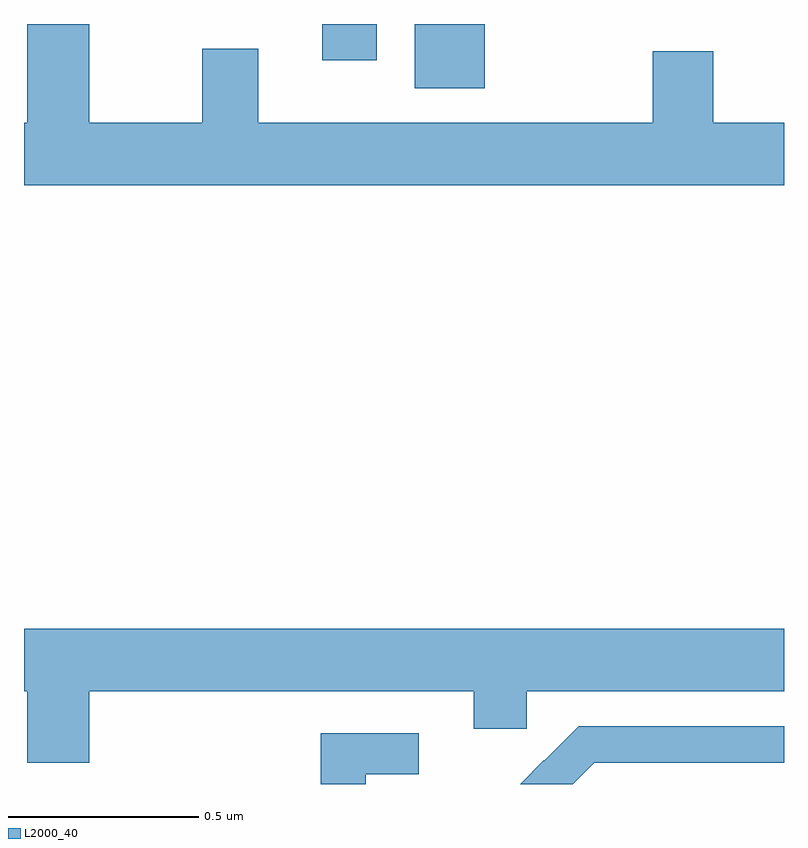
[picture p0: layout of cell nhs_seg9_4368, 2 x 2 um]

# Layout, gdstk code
import gdstk
lib = gdstk.Library(unit=1e-6, precision=1e-09)
def R(c, l, rs):  # rectangles x0, y0, x1, y1
    for r in rs: c.add(gdstk.rectangle(r[:2], r[2:], *l))
def P(c, l, *ps):  # polygons
    for p in ps: c.add(gdstk.Polygon(p, *l))
L2000_40 = (2000, 40)

nhs_seg9_4368 = lib.new_cell('nhs_seg9_4368')
R(nhs_seg9_4368, L2000_40, [(166.028,1207.331,166.213,1207.5), (165.785,1207.404,165.928,1207.5)])
P(nhs_seg9_4368, L2000_40, [(167,1207.24),(166.814,1207.24),(166.814,1207.428),(166.654,1207.428),(166.654,1207.24),(165.616,1207.24),(165.616,1207.435),(165.469,1207.435),(165.469,1207.24),(165.172,1207.24),(165.172,1207.5),(165.008,1207.5),(165.008,1207.24),(165,1207.24),(165,1207.076),(167,1207.076)],
  [(165.172,1205.744),(166.184,1205.744),(166.184,1205.646),(166.323,1205.646),(166.323,1205.744),(167,1205.744),(167,1205.908),(165,1205.908),(165,1205.744),(165.008,1205.744),(165.008,1205.556),(165.172,1205.556)],
  [(166.5,1205.556),(167,1205.556),(167,1205.652),(166.46,1205.652),(166.369,1205.561),(166.368,1205.562),(166.306,1205.5),(166.444,1205.5)],
  [(165.899,1205.526),(166.039,1205.526),(166.039,1205.634),(165.781,1205.634),(165.781,1205.5),(165.899,1205.5)])

lib.write_gds('nhs_seg9_4368.gds')
